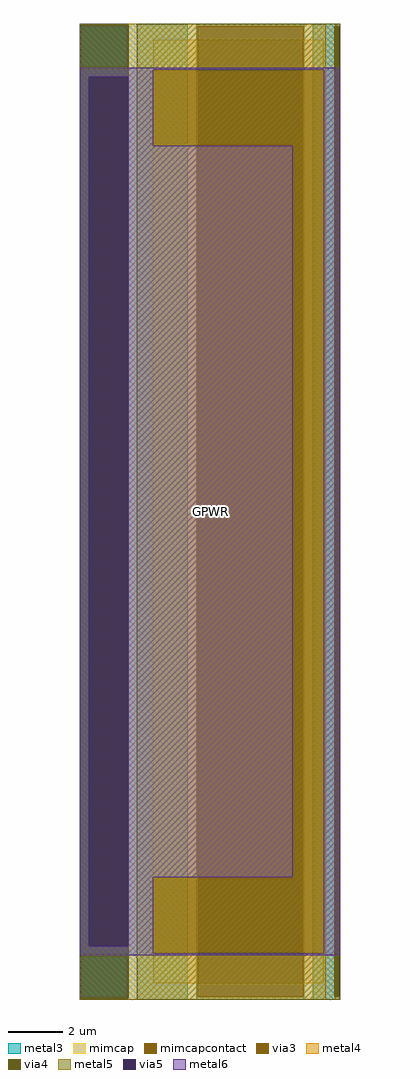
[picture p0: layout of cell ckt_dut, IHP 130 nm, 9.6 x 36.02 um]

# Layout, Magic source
magic
tech ihp-sg13g2
magscale 1 2
<< metal3 >>
rect 0 -3602 796 3602
rect 860 3581 1656 3602
rect 860 -3581 869 3581
rect 1647 -3581 1656 3581
rect 860 -3602 1656 -3581
rect 1720 3581 1920 3602
rect 1720 -3581 1880 3581
rect 1720 -3602 1920 -3581
<< via3 >>
rect 869 -3581 1647 3581
rect 1880 -3581 1920 3581
<< metal4 >>
rect 0 3593 1816 3602
rect 356 3581 1816 3593
rect 356 -3581 869 3581
rect 1647 -3581 1816 3581
rect 356 -3593 1816 -3581
rect 0 -3602 1816 -3593
rect 1880 3581 1920 3602
rect 1880 -3602 1920 -3581
<< via4 >>
rect 0 -3593 356 3593
rect 1880 -3581 1920 3581
<< metal5 >>
rect 0 3593 356 3602
rect 0 -3602 356 -3593
rect 420 3581 1920 3602
rect 420 -3581 1880 3581
rect 420 -3602 1920 -3581
<< via5 >>
rect 64 -3210 356 3210
<< mimcap >>
rect 540 3262 1800 3482
rect 540 -2698 1572 2698
rect 540 -3482 1800 -3262
<< mimcapcontact >>
rect 540 2698 1800 3262
rect 1572 -2698 1800 2698
rect 540 -3262 1800 -2698
<< metal6 >>
rect 0 3262 1920 3274
rect 0 3210 540 3262
rect 0 -3210 64 3210
rect 356 2698 540 3210
rect 356 -2698 1572 2698
rect 356 -3210 540 -2698
rect 0 -3262 540 -3210
rect 1800 -3262 1920 3262
rect 0 -3274 1920 -3262
<< labels >>
flabel metal6 s 0 -3274 1920 3274 0 FreeSans 800 0 0 0 GPWR
port 3 nsew power output
<< end >>
